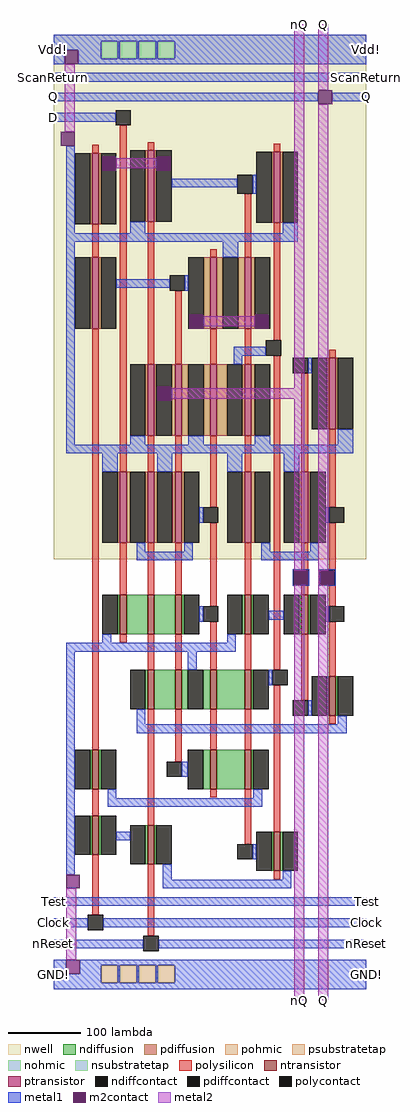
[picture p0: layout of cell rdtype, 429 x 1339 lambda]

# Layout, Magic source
magic
tech tsmc180
<< nwell >>
rect 0 605 429 1324
<< polysilicon >>
rect 53 1162 62 1173
rect 53 1019 62 1064
rect 53 343 62 921
rect 91 725 100 1200
rect 129 1166 138 1177
rect 302 1164 311 1175
rect 129 872 138 1068
rect 215 1019 224 1030
rect 262 1019 271 1106
rect 167 872 176 973
rect 215 872 224 921
rect 262 872 271 921
rect 302 905 311 1066
rect 129 725 138 774
rect 167 725 176 774
rect 215 676 224 774
rect 262 725 271 774
rect 91 556 100 627
rect 129 556 138 627
rect 167 556 176 627
rect 215 540 224 655
rect 262 556 271 627
rect 91 491 100 502
rect 129 453 138 502
rect 167 453 176 502
rect 215 453 224 519
rect 262 453 271 502
rect 302 453 311 884
rect 378 881 387 892
rect 340 725 349 860
rect 378 676 387 783
rect 340 590 349 627
rect 378 590 387 655
rect 386 569 387 590
rect 340 556 349 569
rect 378 540 387 569
rect 53 253 62 289
rect 129 240 138 399
rect 167 327 176 399
rect 215 343 224 399
rect 262 343 271 399
rect 215 278 224 289
rect 53 117 62 199
rect 262 214 271 289
rect 302 231 311 432
rect 340 411 349 502
rect 378 444 387 519
rect 378 379 387 390
rect 129 88 138 186
rect 302 166 311 177
<< ndiffusion >>
rect 88 502 91 556
rect 100 502 129 556
rect 138 502 167 556
rect 176 502 179 556
rect 259 502 262 556
rect 271 502 274 556
rect 337 502 340 556
rect 349 502 352 556
rect 126 399 129 453
rect 138 399 167 453
rect 176 399 184 453
rect 205 399 215 453
rect 224 399 262 453
rect 271 399 274 453
rect 50 289 53 343
rect 62 289 65 343
rect 50 199 53 253
rect 62 199 65 253
rect 205 289 215 343
rect 224 289 262 343
rect 271 289 274 343
rect 126 186 129 240
rect 138 186 141 240
rect 375 390 378 444
rect 387 390 390 444
rect 299 177 302 231
rect 311 177 314 231
<< pdiffusion >>
rect 50 1064 53 1162
rect 62 1064 65 1162
rect 50 921 53 1019
rect 62 921 65 1019
rect 126 1068 129 1166
rect 138 1068 141 1166
rect 299 1066 302 1164
rect 311 1066 314 1164
rect 206 921 215 1019
rect 224 921 232 1019
rect 253 921 262 1019
rect 271 921 276 1019
rect 126 774 129 872
rect 138 774 141 872
rect 162 774 167 872
rect 176 774 185 872
rect 206 774 215 872
rect 224 774 238 872
rect 259 774 262 872
rect 271 774 276 872
rect 88 627 91 725
rect 100 627 105 725
rect 126 627 129 725
rect 138 627 142 725
rect 163 627 167 725
rect 176 627 179 725
rect 259 627 262 725
rect 271 627 276 725
rect 375 783 378 881
rect 387 783 390 881
rect 337 627 340 725
rect 349 627 352 725
<< pohmic >>
rect 88 24 91 48
rect 114 24 117 48
rect 140 24 143 48
<< nohmic >>
rect 88 1291 91 1315
rect 114 1291 117 1315
rect 140 1291 143 1315
<< ntransistor >>
rect 91 502 100 556
rect 129 502 138 556
rect 167 502 176 556
rect 262 502 271 556
rect 340 502 349 556
rect 129 399 138 453
rect 167 399 176 453
rect 215 399 224 453
rect 262 399 271 453
rect 53 289 62 343
rect 53 199 62 253
rect 215 289 224 343
rect 262 289 271 343
rect 129 186 138 240
rect 378 390 387 444
rect 302 177 311 231
<< ptransistor >>
rect 53 1064 62 1162
rect 53 921 62 1019
rect 129 1068 138 1166
rect 302 1066 311 1164
rect 215 921 224 1019
rect 262 921 271 1019
rect 129 774 138 872
rect 167 774 176 872
rect 215 774 224 872
rect 262 774 271 872
rect 91 627 100 725
rect 129 627 138 725
rect 167 627 176 725
rect 262 627 271 725
rect 378 783 387 881
rect 340 627 349 725
<< polycontact >>
rect 85 1200 106 1221
rect 252 1106 273 1132
rect 159 973 180 994
rect 291 884 312 905
rect 205 655 226 676
rect 205 519 226 540
rect 328 860 349 881
rect 378 655 399 676
rect 329 569 350 590
rect 365 569 386 590
rect 378 519 399 540
rect 300 432 321 453
rect 155 306 176 327
rect 328 390 349 411
rect 252 193 273 214
rect 47 96 68 117
rect 123 67 144 88
<< ndiffcontact >>
rect 67 502 88 556
rect 179 502 200 556
rect 238 502 259 556
rect 274 502 295 556
rect 316 502 337 556
rect 352 502 373 556
rect 105 399 126 453
rect 184 399 205 453
rect 274 399 295 453
rect 29 289 50 343
rect 65 289 86 343
rect 29 199 50 253
rect 65 199 86 253
rect 184 289 205 343
rect 274 289 295 343
rect 105 186 126 240
rect 141 186 162 240
rect 354 390 375 444
rect 390 390 411 444
rect 278 177 299 231
rect 314 177 335 231
<< pdiffcontact >>
rect 29 1064 50 1162
rect 65 1064 86 1162
rect 29 921 50 1019
rect 65 921 86 1019
rect 105 1068 126 1166
rect 141 1068 162 1166
rect 278 1066 299 1164
rect 314 1066 335 1164
rect 185 921 206 1019
rect 232 921 253 1019
rect 276 921 297 1019
rect 105 774 126 872
rect 141 774 162 872
rect 185 774 206 872
rect 238 774 259 872
rect 276 774 297 872
rect 67 627 88 725
rect 105 627 126 725
rect 142 627 163 725
rect 179 627 200 725
rect 238 627 259 725
rect 276 627 297 725
rect 354 783 375 881
rect 390 783 411 881
rect 316 627 337 725
rect 352 627 373 725
<< psubstratetap >>
rect 65 24 88 48
rect 91 24 114 48
rect 117 24 140 48
rect 143 24 166 48
<< nsubstratetap >>
rect 65 1291 88 1315
rect 91 1291 114 1315
rect 117 1291 140 1315
rect 143 1291 166 1315
<< metal1 >>
rect 0 1315 429 1324
rect 0 1303 65 1315
rect 0 1284 15 1303
rect 34 1291 65 1303
rect 88 1291 91 1315
rect 114 1291 117 1315
rect 140 1291 143 1315
rect 166 1291 429 1315
rect 34 1284 429 1291
rect 0 1260 429 1272
rect 0 1233 363 1245
rect 382 1233 429 1245
rect 0 1205 85 1217
rect 17 1052 29 1172
rect 162 1115 252 1127
rect 273 1106 278 1132
rect 105 1052 126 1068
rect 314 1052 335 1066
rect 17 1040 335 1052
rect 17 762 29 1040
rect 232 1019 253 1040
rect 86 977 159 989
rect 180 973 185 994
rect 247 884 291 896
rect 247 872 259 884
rect 349 860 354 881
rect 105 762 126 774
rect 185 762 206 774
rect 276 762 297 774
rect 390 762 411 783
rect 17 750 411 762
rect 67 725 88 750
rect 142 725 163 750
rect 238 725 259 750
rect 316 725 337 750
rect 200 655 205 676
rect 373 655 378 676
rect 114 615 126 627
rect 179 615 191 627
rect 114 603 191 615
rect 285 615 297 627
rect 352 615 364 627
rect 285 603 364 615
rect 328 590 351 591
rect 328 569 329 590
rect 350 569 351 590
rect 328 568 351 569
rect 364 590 387 591
rect 364 569 365 590
rect 386 569 387 590
rect 364 568 387 569
rect 200 519 205 540
rect 295 522 316 534
rect 373 519 378 540
rect 67 490 79 502
rect 238 490 250 502
rect 17 478 250 490
rect 17 172 29 478
rect 184 453 196 478
rect 295 432 300 453
rect 114 378 126 399
rect 349 390 354 411
rect 390 378 402 390
rect 114 366 402 378
rect 176 306 184 327
rect 74 277 86 289
rect 274 277 286 289
rect 74 265 286 277
rect 86 219 105 231
rect 273 193 278 214
rect 150 165 162 186
rect 314 165 326 177
rect 150 153 326 165
rect 0 129 429 141
rect 0 100 47 112
rect 68 100 429 112
rect 0 71 123 83
rect 144 71 429 83
rect 0 36 17 55
rect 36 48 429 55
rect 36 36 65 48
rect 0 24 65 36
rect 88 24 91 48
rect 114 24 117 48
rect 140 24 143 48
rect 166 24 429 48
rect 0 15 429 24
<< m2contact >>
rect 15 1284 34 1303
rect 363 1229 382 1248
rect 10 1172 29 1191
rect 67 1138 86 1157
rect 141 1138 160 1157
rect 187 921 206 940
rect 276 921 295 940
rect 143 822 162 841
rect 330 570 349 589
rect 366 570 385 589
rect 17 153 36 172
rect 17 36 36 55
<< metal2 >>
rect 15 1191 29 1284
rect 86 1141 141 1155
rect 206 924 276 938
rect 330 839 344 1339
rect 162 825 344 839
rect 330 590 344 825
rect 363 1248 377 1339
rect 330 589 346 590
rect 363 589 377 1229
rect 363 570 366 589
rect 330 569 346 570
rect 17 55 31 153
rect 330 0 344 569
rect 363 0 377 570
<< labels >>
rlabel metal2 363 1339 377 1339 5 Q
rlabel metal2 363 0 377 0 1 Q
rlabel metal2 330 1339 344 1339 5 nQ
rlabel metal2 330 0 344 0 1 nQ
rlabel metal1 429 1233 429 1245 7 Q
rlabel metal1 429 15 429 55 1 GND!
rlabel metal1 429 71 429 83 1 nReset
rlabel metal1 429 100 429 112 1 Clock
rlabel metal1 429 129 429 141 1 Test
rlabel metal1 429 1260 429 1272 7 ScanReturn
rlabel metal1 429 1284 429 1324 7 Vdd!
rlabel metal1 0 1205 0 1217 1 D
rlabel metal1 0 1260 0 1272 1 ScanReturn
rlabel metal1 0 1233 0 1245 1 Q
rlabel metal1 0 1284 0 1324 1 Vdd!
rlabel metal1 0 15 0 55 3 GND!
rlabel metal1 0 71 0 83 3 nReset
rlabel metal1 0 100 0 112 3 Clock
rlabel metal1 0 129 0 141 3 Test
<< end >>
